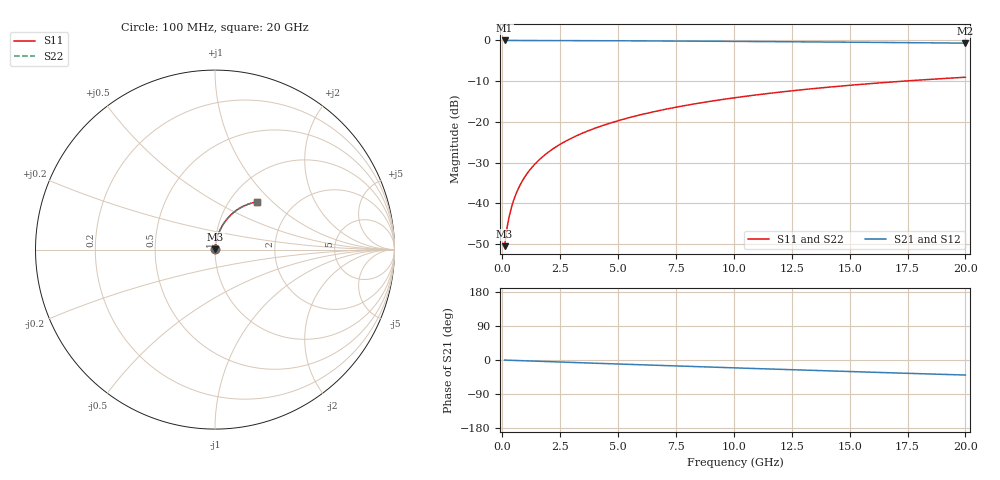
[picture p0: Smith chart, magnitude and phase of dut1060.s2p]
! Touchstone file exported from HFSS 2026.1.0
!  File:  C:/ffzhzh/LocalFiles/Ansys_Project_Files/temp_train_BSMRDL_1060_1783174085_51560.aedt
!  Generated:  10:09:23 PM Jul  4, 2026
!  Design:  BSMRDL
!  Project:  temp_train_BSMRDL_1060_1783174085_51560
! Variables:
!  h_bsmrdl = 5.92um
!  h_ox = 20um
!  h_rdl = 5um
!  h_sub = 80um
!  h_tmrdl = 5um
!  h_tsv = 80um
!  h_via = 3um
!  l_bsmrdl = 593.04um
!  l_sub = 993.04um
!  l_tmrdl = 200um
!  m_sub = 200um
!  pitch = 47.22um
!  r_tsv = 6um
!  s_tmrdl = 10um
!  w_bsmrdl = 20.16um
!  w_sub = 500um
!  w_tmrdl = 12um
!  x_tsv_center1 = 206um
!  x_tsv_center2 = 819.2um
!  x_tsv_center3 = 1031.2um
!  x_tsv_center4 = 1644.4um
!  x_tsv_center5 = 1856.4um
!  x_tsv_center6 = 2469.6um
# GHz S MA R 50.000000
! Terminal data exported
! Port[1] = BSM_RDL1_1_T1
! Port[2] = BSM_RDL1_1_T2
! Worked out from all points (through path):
!   200 points, 100 MHz to 20 GHz, reference 50 ohm
!   highest |S21| = -0.02 dB at 100 MHz (marker M1); lowest = -0.7 dB at 20 GHz (marker M2)
!   group delay of S21, straight-line fit = 5.51 ps
!   lowest |S11| = -50.5 dB at 100 MHz (marker M3), VSWR 1.01, Z = 50.2 + j0.231 ohm
!   |S11| at or under -10 dB: start of sweep to 17.32 GHz
!   |S22| runs from -50.5 to -9.0 dB; largest |S21 - S12| = 2.1e-15
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0.1  0.00299 50.3  0.9981 -0.2  0.9981 -0.2  0.00299 50.3
! Gamma 0 0 0 0
! Port Impedance 50 0 50 0
0.2  0.004941 65.4  0.998 -0.4  0.998 -0.4  0.004941 65.4
0.3  0.00698 71.8  0.9979 -0.7  0.9979 -0.7  0.00698 71.8
0.4  0.009052 75.2  0.9978 -0.9  0.9978 -0.9  0.009052 75.2
0.5  0.01114 77.4  0.9977 -1.1  0.9977 -1.1  0.01114 77.4
0.7  0.01537 79.8  0.9976 -1.5  0.9976 -1.5  0.01537 79.8
0.8  0.01749 80.5  0.9975 -1.7  0.9975 -1.7  0.01749 80.5
1  0.02173 81.3  0.9973 -2.2  0.9973 -2.2  0.02173 81.3
1.2  0.02597 81.7  0.9971 -2.6  0.9971 -2.6  0.02597 81.7
1.4  0.03021 81.8  0.9968 -3.0  0.9968 -3.0  0.03021 81.8
1.7  0.03653 81.8  0.9964 -3.7  0.9964 -3.7  0.03653 81.8
2  0.04281 81.5  0.9959 -4.3  0.9959 -4.3  0.04281 81.5
2.7  0.0573 80.5  0.9946 -5.8  0.9946 -5.8  0.0573 80.5
3.5  0.07358 79.1  0.9929 -7.5  0.9929 -7.5  0.07358 79.1
4.2  0.0876 77.9  0.9913 -8.9  0.9913 -8.9  0.0876 77.9
5  0.1034 76.4  0.9892 -10.6  0.9892 -10.6  0.1034 76.4
6.8  0.1382 73.1  0.984 -14.3  0.984 -14.3  0.1382 73.1
8.3  0.1664 70.3  0.979 -17.3  0.979 -17.3  0.1664 70.2
10.1  0.1991 66.9  0.9722 -20.9  0.9722 -20.9  0.1991 66.8
13.4  0.2556 60.7  0.9581 -27.4  0.9581 -27.4  0.2556 60.7
16.7  0.3071 54.6  0.9423 -33.7  0.9423 -33.7  0.3071 54.6
20  0.3532 48.7  0.9256 -39.7  0.9256 -39.7  0.3532 48.7
